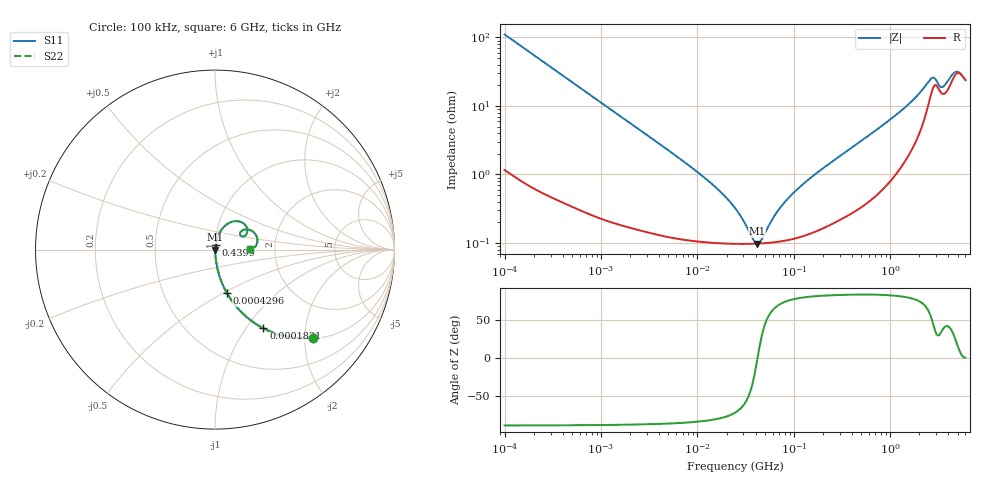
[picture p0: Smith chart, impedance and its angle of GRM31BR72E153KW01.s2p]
!Murata Part Number: GRM31BR72E153KW01
!These Parameters are Measured in Series Mode Connection
!Data Generated on Mar 30, 2021
!  o--ll--o
!Port1  Port2
!  o------o
!Operation Temp=25[degC], DC Bias Voltage=0[V]
!Freq. Start=100[kHz] Stop=6[GHz] 401[Steps]
# Hz S RI R 50
!Freq.(Hz) S11(Real) S11(Imag) S21(Real) S21(Imag) S12(Real) S12(Imag) S22(Real) S22(Imag)
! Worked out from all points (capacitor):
!   401 points, 100 kHz to 6 GHz, reference 50 ohm
!   read as one part in series: C = 14.4 nF near 105.7 kHz
!   lowest |Z| = 98.3 mohm at 41.31 MHz (marker M1)
!   series resonance near 41.97 MHz, so ESL is about 1 nH
!   S11 on the Smith chart (normalised r, x): 100 kHz: 1.02, -2.21; 183.1 kHz: 1.01, -1.21; 429.6 kHz: 1.01, -0.52; 439.9 MHz: 1.01, +0.05; 6 GHz: 1.48, +0.00
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100000  0.5487 -0.4924  0.4513 0.4924  0.4513 0.4924  0.5487 -0.4924
183146  0.2701 -0.4385  0.7299 0.4385  0.7299 0.4385  0.2701 -0.4385
429640  0.0659 -0.2411  0.9341 0.2411  0.9341 0.2411  0.0659 -0.2411
631452  0.033 -0.1704  0.967 0.1704  0.967 0.1704  0.033 -0.1704
1402027  0.00824 -0.0792  0.9918 0.0792  0.9918 0.0792  0.00824 -0.0792
3987316  0.00209 -0.0281  0.9979 0.0281  0.9979 0.0281  0.00209 -0.0281
1.337449e7  0.00107 -0.00768  0.9989 0.00768  0.9989 0.00768  0.00107 -0.00768
2.517799e7  0.000978 -0.00291  0.999 0.00291  0.999 0.00291  0.000978 -0.00291
3.80366e7  0.000974 -0.000538  0.999 0.000538  0.999 0.000538  0.000974 -0.000538
4.130835e7  0.000978 -8.59e-05  0.999 8.59e-05  0.999 8.59e-05  0.000978 -8.59e-05
4.611257e7  0.000986 0.000516  0.999 -0.000516  0.999 -0.000516  0.000986 0.000516
6.07118e7  0.00102 0.00206  0.999 -0.00206  0.999 -0.00206  0.00102 0.00206
7.776452e7  0.00108 0.00358  0.9989 -0.00358  0.9989 -0.00358  0.00108 0.00358
1.546735e8  0.00148 0.00917  0.9985 -0.00917  0.9985 -0.00917  0.00148 0.00917
4.398862e8  0.00367 0.0269  0.9963 -0.0269  0.9963 -0.0269  0.00367 0.0269
9.76689e8  0.0113 0.0605  0.9887 -0.0605  0.9887 -0.0605  0.0113 0.0605
1.889928e9  0.0485 0.1255  0.9515 -0.1255  0.9515 -0.1255  0.0485 0.1255
2.628996e9  0.1524 0.1504  0.8476 -0.1504  0.8476 -0.1504  0.1524 0.1504
3.367428e9  0.1415 0.0785  0.8585 -0.0785  0.8585 -0.0785  0.1415 0.0785
4.082404e9  0.1745 0.1127  0.8255 -0.1127  0.8255 -0.1127  0.1745 0.1127
4.68428e9  0.2276 0.0824  0.7724 -0.0824  0.7724 -0.0824  0.2276 0.0824
6e9  0.1926 0.0015  0.8074 -0.0015  0.8074 -0.0015  0.1926 0.0015
